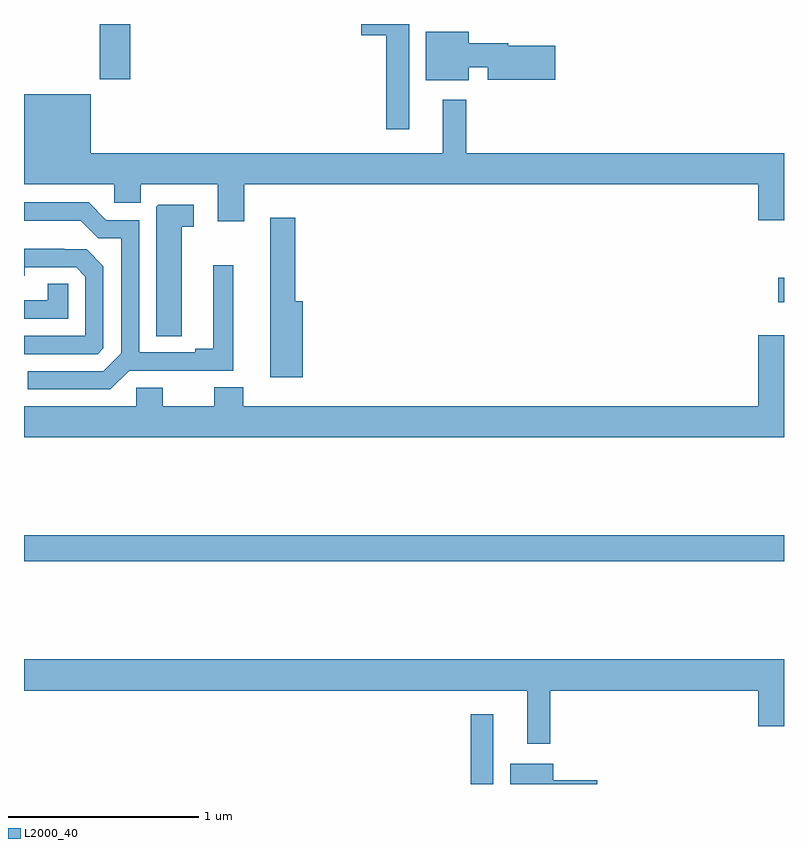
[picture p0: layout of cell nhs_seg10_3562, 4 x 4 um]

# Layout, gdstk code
import gdstk
lib = gdstk.Library(unit=1e-6, precision=1e-09)
def R(c, l, rs):  # rectangles x0, y0, x1, y1
    for r in rs: c.add(gdstk.rectangle(r[:2], r[2:], *l))
def P(c, l, *ps):  # polygons
    for p in ps: c.add(gdstk.Polygon(p, *l))
L2000_40 = (2000, 40)

nhs_seg10_3562 = lib.new_cell('nhs_seg10_3562')
R(nhs_seg10_3562, L2000_40, [(307.35,1290.5,307.471,1290.868), (305,1291.672,309,1291.808), (308.97,1293.035,309,1293.165), (305.398,1294.209,305.558,1294.5)])
P(nhs_seg10_3562, L2000_40, [(307.027,1294.5),(306.776,1294.5),(306.776,1294.442),(306.906,1294.442),(306.906,1293.945),(307.027,1293.945)],
  [(307.342,1294.272),(307.442,1294.272),(307.442,1294.207),(307.795,1294.207),(307.795,1294.385),(307.548,1294.385),(307.548,1294.4),(307.342,1294.4),(307.342,1294.459),(307.115,1294.459),(307.115,1294.205),(307.342,1294.205)],
  [(306.16,1293.656),(308.864,1293.656),(308.864,1293.468),(309,1293.468),(309,1293.82),(307.327,1293.82),(307.327,1294.102),(307.205,1294.102),(307.205,1293.82),(305.35,1293.82),(305.35,1294.129),(305,1294.129),(305,1293.656),(305.475,1293.656),(305.475,1293.558),(305.614,1293.558),(305.614,1293.656),(306.02,1293.656),(306.02,1293.462),(306.16,1293.462)],
  [(305.554,1292.676),(306.1,1292.676),(306.1,1293.229),(305.996,1293.229),(305.996,1292.792),(305.9,1292.792),(305.9,1292.772),(305.607,1292.772),(305.607,1293.468),(305.433,1293.468),(305.34,1293.561),(305,1293.561),(305,1293.464),(305.299,1293.464),(305.39,1293.373),(305.511,1293.373),(305.511,1292.766),(305.418,1292.673),(305.019,1292.673),(305.019,1292.577),(305.455,1292.577)],
  [(305.83,1293.433),(305.893,1293.433),(305.893,1293.549),(305.706,1293.549),(305.696,1293.539),(305.696,1292.857),(305.83,1292.857)],
  [(306.467,1293.04),(306.428,1293.04),(306.428,1293.481),(306.296,1293.481),(306.296,1292.642),(306.467,1292.642)],
  [(305.418,1292.793),(305.418,1293.225),(305.329,1293.314),(305.213,1293.314),(305.213,1293.316),(305,1293.316),(305,1293.176),(305.005,1293.176),(305.005,1293.219),(305.274,1293.219),(305.322,1293.171),(305.322,1292.859),(305,1292.859),(305,1292.763),(305.388,1292.763)],
  [(305.232,1293.134),(305.124,1293.134),(305.124,1293.046),(305,1293.046),(305,1292.949),(305.232,1292.949)],
  [(309,1292.863),(308.864,1292.863),(308.864,1292.488),(306.155,1292.488),(306.155,1292.587),(306.002,1292.587),(306.002,1292.488),(305.731,1292.488),(305.731,1292.586),(305.592,1292.586),(305.592,1292.488),(305,1292.488),(305,1292.324),(309,1292.324)],
  [(307.771,1290.992),(308.864,1290.992),(308.864,1290.804),(309,1290.804),(309,1291.156),(305,1291.156),(305,1290.992),(307.649,1290.992),(307.649,1290.711),(307.771,1290.711)],
  [(308.017,1290.519),(307.786,1290.519),(307.786,1290.607),(307.559,1290.607),(307.559,1290.5),(308.017,1290.5)])

lib.write_gds('nhs_seg10_3562.gds')
